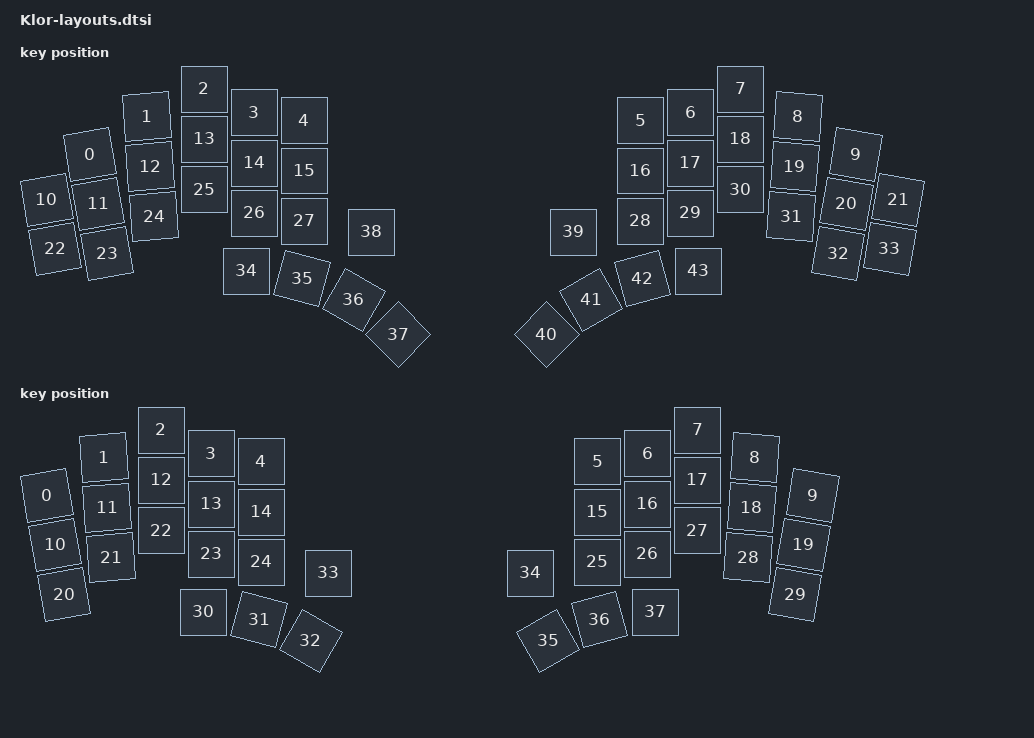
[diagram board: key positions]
#include <physical_layouts.dtsi>

/ {
    layout_0: layout_0 {
        compatible = "zmk,physical-layout";
        display-name = "LAYOU0";
        kscan = <&kscan0>;
        transform = <&default_transform>;

        keys  //                     w   h    x    y     rot    rx    ry
            = <&key_physical_attrs 100 100   94  131 (-1000)   144   181>
            , <&key_physical_attrs 100 100  209   55  (-400)   259   105>
            , <&key_physical_attrs 100 100  323    0       0     0     0>
            , <&key_physical_attrs 100 100  423   47       0     0     0>
            , <&key_physical_attrs 100 100  523   63       0     0     0>
            , <&key_physical_attrs 100 100 1196   63       0     0     0>
            , <&key_physical_attrs 100 100 1296   47       0     0     0>
            , <&key_physical_attrs 100 100 1396    0       0     0     0>
            , <&key_physical_attrs 100 100 1511   55     400  1561   105>
            , <&key_physical_attrs 100 100 1626  131    1000  1676   181>
            , <&key_physical_attrs 100 100    8  222 (-1000)    58   272>
            , <&key_physical_attrs 100 100  111  230 (-1000)   161   280>
            , <&key_physical_attrs 100 100  215  155  (-400)   266   205>
            , <&key_physical_attrs 100 100  323  100       0     0     0>
            , <&key_physical_attrs 100 100  423  148       0     0     0>
            , <&key_physical_attrs 100 100  523  164       0     0     0>
            , <&key_physical_attrs 100 100 1196  164       0     0     0>
            , <&key_physical_attrs 100 100 1296  148       0     0     0>
            , <&key_physical_attrs 100 100 1396  100       0     0     0>
            , <&key_physical_attrs 100 100 1504  155     400  1554   205>
            , <&key_physical_attrs 100 100 1608  230    1000  1658   280>
            , <&key_physical_attrs 100 100 1711  222    1000  1761   272>
            , <&key_physical_attrs 100 100   25  320 (-1000)    75   370>
            , <&key_physical_attrs 100 100  129  329 (-1000)   179   379>
            , <&key_physical_attrs 100 100  223  255  (-400)   273   305>
            , <&key_physical_attrs 100 100  323  201       0     0     0>
            , <&key_physical_attrs 100 100  423  248       0     0     0>
            , <&key_physical_attrs 100 100  523  264       0     0     0>
            , <&key_physical_attrs 100 100 1196  264       0     0     0>
            , <&key_physical_attrs 100 100 1296  248       0     0     0>
            , <&key_physical_attrs 100 100 1396  201       0     0     0>
            , <&key_physical_attrs 100 100 1497  255     400  1547   305>
            , <&key_physical_attrs 100 100 1591  329    1000  1641   379>
            , <&key_physical_attrs 100 100 1694  320    1000  1744   370>
            , <&key_physical_attrs 100 100  408  364       0     0     0>
            , <&key_physical_attrs 100 100  519  379    1500   569   429>
            , <&key_physical_attrs 100 100  622  422    3000   672   472>
            , <&key_physical_attrs 100 100  711  491 (-4500)   761   541>
            , <&key_physical_attrs 100 100  657  286       0     0     0>
            , <&key_physical_attrs 100 100 1062  286       0     0     0>
            , <&key_physical_attrs 100 100 1008  491    4500  1058   541>
            , <&key_physical_attrs 100 100 1097  422 (-3000)  1147   472>
            , <&key_physical_attrs 100 100 1200  379 (-1500)  1250   429>
            , <&key_physical_attrs 100 100 1311  364       0     0     0>
            ;
    };

    layout_1: layout_1 {
        compatible = "zmk,physical-layout";
        display-name = "LAYOU1";
        kscan = <&kscan0>;
        transform = <&default_transform>;
        
        keys  //                     w   h    x    y     rot    rx    ry
            = <&key_physical_attrs 100 100   94  131 (-1000)   144   181>
            , <&key_physical_attrs 100 100  209   55  (-400)   259   105>
            , <&key_physical_attrs 100 100  323    0       0     0     0>
            , <&key_physical_attrs 100 100  423   47       0     0     0>
            , <&key_physical_attrs 100 100  523   63       0     0     0>
            , <&key_physical_attrs 100 100 1196   63       0     0     0>
            , <&key_physical_attrs 100 100 1296   47       0     0     0>
            , <&key_physical_attrs 100 100 1396    0       0     0     0>
            , <&key_physical_attrs 100 100 1511   55     400  1561   105>
            , <&key_physical_attrs 100 100 1626  131    1000  1676   181>
//            , <&key_physical_attrs 100 100    8  222 (-1000)    58   272>
            , <&key_physical_attrs 100 100  111  230 (-1000)   161   280>
            , <&key_physical_attrs 100 100  215  155  (-400)   266   205>
            , <&key_physical_attrs 100 100  323  100       0     0     0>
            , <&key_physical_attrs 100 100  423  148       0     0     0>
            , <&key_physical_attrs 100 100  523  164       0     0     0>
            , <&key_physical_attrs 100 100 1196  164       0     0     0>
            , <&key_physical_attrs 100 100 1296  148       0     0     0>
            , <&key_physical_attrs 100 100 1396  100       0     0     0>
            , <&key_physical_attrs 100 100 1504  155     400  1554   205>
            , <&key_physical_attrs 100 100 1608  230    1000  1658   280>
//          , <&key_physical_attrs 100 100 1711  222    1000  1761   272>
//          , <&key_physical_attrs 100 100   25  320 (-1000)    75   370>
            , <&key_physical_attrs 100 100  129  329 (-1000)   179   379>
            , <&key_physical_attrs 100 100  223  255  (-400)   273   305>
            , <&key_physical_attrs 100 100  323  201       0     0     0>
            , <&key_physical_attrs 100 100  423  248       0     0     0>
            , <&key_physical_attrs 100 100  523  264       0     0     0>
            , <&key_physical_attrs 100 100 1196  264       0     0     0>
            , <&key_physical_attrs 100 100 1296  248       0     0     0>
            , <&key_physical_attrs 100 100 1396  201       0     0     0>
            , <&key_physical_attrs 100 100 1497  255     400  1547   305>
            , <&key_physical_attrs 100 100 1591  329    1000  1641   379>
//          , <&key_physical_attrs 100 100 1694  320    1000  1744   370>
            , <&key_physical_attrs 100 100  408  364       0     0     0>
            , <&key_physical_attrs 100 100  519  379    1500   569   429>
            , <&key_physical_attrs 100 100  622  422    3000   672   472>
//            , <&key_physical_attrs 100 100  711  491 (-4500)   761   541>
            , <&key_physical_attrs 100 100  657  286       0     0     0>
            , <&key_physical_attrs 100 100 1062  286       0     0     0>
//          , <&key_physical_attrs 100 100 1008  491    4500  1058   541>
            , <&key_physical_attrs 100 100 1097  422 (-3000)  1147   472>
            , <&key_physical_attrs 100 100 1200  379 (-1500)  1250   429>
            , <&key_physical_attrs 100 100 1311  364       0     0     0>
            ;
    };

    position_map {
        compatible = "zmk,physical-layout-position-map";

        layout_0 {
            physical-layout = <&layout_0>;
            positions 
            = <11 12 13 14 15 16 17 18 19 20 23 24 25 26 27 38>
            , <39 28 29 30 31 32 34 35 36 41 42 43>;
        };
        layout_1 {
            physical-layout = <&layout_1>;
            positions            
            = <10 11 12 13 14 15 16 17 18 19 20 21 22 23 24 33>
            , <34 25 26 27 28 29 30 31 32 35 36 37>;
        };
    };
};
